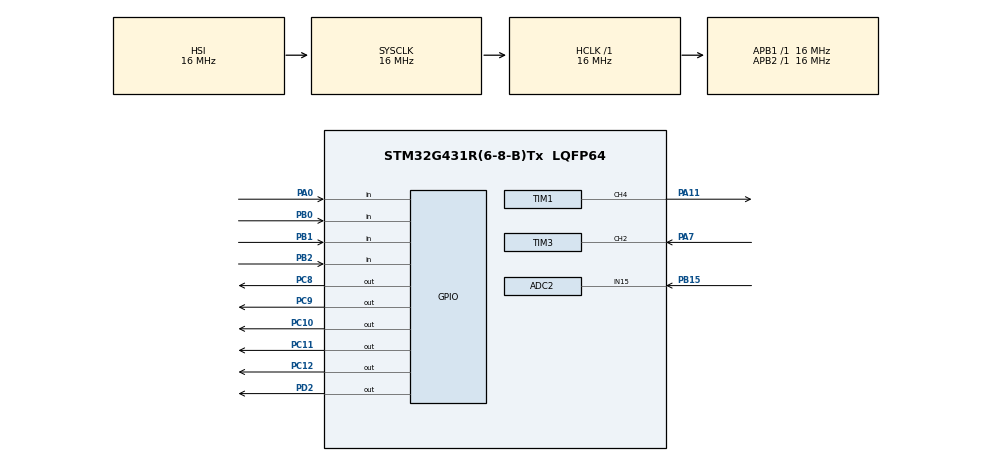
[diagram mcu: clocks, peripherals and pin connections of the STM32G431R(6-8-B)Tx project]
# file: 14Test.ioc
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ADC2.Channel-0\#ChannelRegularConversion=ADC_CHANNEL_15
ADC2.NbrOfConversionFlag=1
ADC2.OffsetNumber-0\#ChannelRegularConversion=ADC_OFFSET_NONE
ADC2.Rank-0\#ChannelRegularConversion=1
ADC2.SamplingTime-0\#ChannelRegularConversion=ADC_SAMPLETIME_2CYCLES_5
Mcu.Family=STM32G4
Mcu.Name=STM32G431R(6-8-B)Tx
Mcu.Package=LQFP64
NVIC.PriorityGroup=NVIC_PRIORITYGROUP_4
NVIC.TIM3_IRQn=true\:0\:0\:false\:false\:true\:true\:true
PA0.Signal=GPIO_Input
PA11.Signal=S_TIM1_CH4
PA13.Mode=Serial_Wire
PA13.Signal=SYS_JTMS-SWDIO
PA14.Mode=Serial_Wire
PA14.Signal=SYS_JTCK-SWCLK
PA7.Signal=S_TIM3_CH2
PB0.Signal=GPIO_Input
PB1.Signal=GPIO_Input
PB15.Mode=IN15-Single-Ended
PB15.Signal=ADC2_IN15
PB2.Signal=GPIO_Input
PC10.Signal=GPIO_Output
PC11.Signal=GPIO_Output
PC12.Signal=GPIO_Output
PC8.Signal=GPIO_Output
PC9.Signal=GPIO_Output
PD2.Signal=GPIO_Output
PF0-OSC_IN.Mode=HSE-External-Oscillator
PF0-OSC_IN.Signal=RCC_OSC_IN
PF1-OSC_OUT.Mode=HSE-External-Oscillator
PF1-OSC_OUT.Signal=RCC_OSC_OUT
ProjectManager.HeapSize=0x200
ProjectManager.StackSize=0x400
ProjectManager.TargetToolchain=MDK-ARM V5
RCC.AHBFreq_Value=16000000
RCC.APB1Freq_Value=16000000
RCC.APB1TimFreq_Value=16000000
RCC.APB2Freq_Value=16000000
RCC.APB2TimFreq_Value=16000000
RCC.CortexFreq_Value=16000000
RCC.EXTERNAL_CLOCK_VALUE=12288000
RCC.HCLKFreq_Value=16000000
RCC.HSE_VALUE=8000000
RCC.HSI48_VALUE=48000000
RCC.HSI_VALUE=16000000
RCC.LSE_VALUE=32768
RCC.SYSCLKFreq_VALUE=16000000
RCC.USBFreq_Value=64000000
RCC.VCOOutputFreq_Value=128000000
SH.S_TIM1_CH4.0=TIM1_CH4,Output Compare4 CH4
SH.S_TIM3_CH2.0=TIM3_CH2,Input_Capture2_from_TI2
TIM1.Channel-Output\ Compare4\ CH4=TIM_CHANNEL_4
TIM1.Prescaler=100-1
TIM1.RepetitionCounter=200-1
TIM3.Channel-Input_Capture2_from_TI2=TIM_CHANNEL_2
TIM3.Prescaler=80-1
VP_SYS_VS_DBSignals.Mode=DisableDeadBatterySignals
VP_TIM1_VS_ClockSourceINT.Mode=Internal
VP_TIM3_VS_ClockSourceINT.Mode=Internal
board=custom

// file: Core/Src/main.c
/* USER CODE BEGIN Header */
/**
  ******************************************************************************
  * @file           : main.c
  * @brief          : Main program body
  ******************************************************************************
  * @attention
  *
  * <h2><center>&copy; Copyright (c) 2023 STMicroelectronics.
  * All rights reserved.</center></h2>
  *
  * This software component is licensed by ST under BSD 3-Clause license,
  * the "License"; You may not use this file except in compliance with the
  * License. You may obtain a copy of the License at:
  *                        opensource.org/licenses/BSD-3-Clause
  *
  ******************************************************************************
  */
/* USER CODE END Header */
#include "main.h"
#include "adc.h"
#include "tim.h"
#include "gpio.h"

/* USER CODE BEGIN Includes */
#include "lcd.h"
#include "i2c_hal.h"
#include "stdio.h"
#include "string.h"

/* USER CODE END Includes */

/* USER CODE BEGIN PD */
#define KEY1 HAL_GPIO_ReadPin(GPIOB,GPIO_PIN_0)
#define KEY2 HAL_GPIO_ReadPin(GPIOB,GPIO_PIN_1)
#define KEY3 HAL_GPIO_ReadPin(GPIOB,GPIO_PIN_2)
#define KEY4 HAL_GPIO_ReadPin(GPIOA,GPIO_PIN_0)
/* USER CODE END PD */

/* USER CODE BEGIN PV */
u8 key_val,key_down,key_up,key_old;
double ao1, ao2;
u8 sta_lcd;
u8 ptr[30];
u32 freqPa1, freqPa2;
uint32_t  cc1_value1 = 0, cc1_value2 = 0;
unsigned char tx[21],rx,rx_buf[21],dex;//串口相关变量
u8 rk_mode;
u8 tc[128];
u8 tcs = 0;
u8 led2_first = 0;
u8 led_in;
u8 e2prom[5];//EEPROM存储数组
u8 PwmSD;
u8 R_sta = 1, K_sta = 1;
u8 PwmMode;
u16 PwmNum;
u8 Pwmzb;
u8 bbbb = 0, ttt = 0;
double GPv = 0.0, DPv = 0.0;

__IO uint32_t LED2_Tick;
/* USER CODE END PV */

void SystemClock_Config(void);

/* USER CODE BEGIN 0 */

u8 key_scan()
{
	if((KEY1 == 0)||(KEY2 == 0)||(KEY3 == 0)||(KEY4 == 0))
	{
		HAL_Delay(10);
		if(KEY1 == 0) return 1;
		else if(KEY2 == 0) return 2;
		else if(KEY3 == 0) return 3;
		else if(KEY4 == 0) return 4;
	}return 0;
}

void led_dis(u8 led)
{
	HAL_GPIO_WritePin(GPIOC,0xff00,GPIO_PIN_SET);
	HAL_GPIO_WritePin(GPIOD,GPIO_PIN_2,GPIO_PIN_SET);
	HAL_GPIO_WritePin(GPIOD,GPIO_PIN_2,GPIO_PIN_RESET);

	HAL_GPIO_WritePin(GPIOC,led<<8,GPIO_PIN_RESET);
	HAL_GPIO_WritePin(GPIOD,GPIO_PIN_2,GPIO_PIN_SET);
	HAL_GPIO_WritePin(GPIOD,GPIO_PIN_2,GPIO_PIN_RESET);
}

void pwm_proc(void)
{
	__IO uint32_t Key22_Tick = LED2_Tick;
	u8 ii = 100;
	u8 i2 = 200;

	if((uwTick - LED2_Tick < 5000) && ttt == 1)
	{
		if(bbbb == 0)
		{
			if(uwTick - Key22_Tick > 100)
			{
				Key22_Tick = uwTick;
				ii += 2;

				__HAL_TIM_SetAutoreload(&htim1, i2-1);
				__HAL_TIM_SetCompare(&htim1, TIM_CHANNEL_4, (Pwmzb / 100 * (i2 - 1)) - 1);

			}
		}else if(bbbb == 1)
		{

			if(uwTick - Key22_Tick > 100)
			{
				Key22_Tick = uwTick;
				i2 -= 2;
				__HAL_TIM_SetAutoreload(&htim1, ii-1);
				__HAL_TIM_SetCompare(&htim1, TIM_CHANNEL_4, (Pwmzb /100 * (ii - 1)) - 1);

			}
		}
	}

	if(uwTick - LED2_Tick > 5000)
	{
		if(PwmMode == 0)
		{
			__HAL_TIM_SetAutoreload(&htim1, 200 - 1);
			__HAL_TIM_SetCompare(&htim1, TIM_CHANNEL_4, (Pwmzb * 2) - 1);

		}else
		{
			__HAL_TIM_SetAutoreload(&htim1, 100 - 1);
			__HAL_TIM_SetCompare(&htim1, TIM_CHANNEL_4, Pwmzb - 1);
		}

		ttt = 0;
	}
}

void key_Proc()
{
	static __IO uint32_t Key_Tick,DKey_Tick;

	if(uwTick - Key_Tick < 50)
		return;

	Key_Tick = uwTick;

	key_val = key_scan();
	key_down = key_val&(key_val^key_old);
	key_up = ~key_val&(key_val^key_old);
	key_old = key_val;

	if(key_down != 0)
	DKey_Tick=uwTick;

	if(uwTick - DKey_Tick > 2000)
	{
		switch(key_up)
		{
			case 4:
				if(sta_lcd == 0)
				{
					if(PwmSD == 0)
						PwmSD = 1; // 锁定
				}
			break;
		}
	}else
	{
		switch (key_up)
		{
			case 1:
			{
				sta_lcd ++;
				if(sta_lcd == 3)
					sta_lcd = 0;

				if(sta_lcd == 1)
					rk_mode = 0;

				LCD_Clear(Black);
				break;
			}
			case 2:
			{
				if(sta_lcd == 0)
				{
					if((uwTick - LED2_Tick > 5000) | (led2_first == 0))
					{
						LED2_Tick = uwTick;
						ttt = 1;
						if(PwmMode == 0)// 1高频 0 低频
						{
							PwmMode = 1;
//							__HAL_TIM_SetAutoreload(&htim2, 100-1);
//							__HAL_TIM_SetCompare(&htim2,TIM_CHANNEL_2, Pwmzb - 1);
							bbbb = 1;

						}else if(PwmMode == 1)
						{
							PwmMode = 0;
							bbbb = 0;
//							__HAL_TIM_SetAutoreload(&htim2, 200-1);
//							__HAL_TIM_SetCompare(&htim2,TIM_CHANNEL_2, (Pwmzb - 1) * 2);
						}
						led2_first = 1;
						PwmNum ++;
					}
				}else if(sta_lcd == 1)
				{
					if(rk_mode == 0)
					{
						rk_mode = 1;
					}
					else if(rk_mode == 1)
					{
						rk_mode = 0;
					}
				}
				break;
			}
			case 3:
			{
				if(sta_lcd == 1)
				{
					if(rk_mode == 0)
					{
						R_sta ++;
						if(R_sta > 10)
							R_sta = 1;
					}
					else if(rk_mode == 1)
					{
						K_sta ++;
						if(K_sta > 10)
							K_sta = 1;
					}
				}
				break;
			}
			case 4:
			{
				if(sta_lcd == 1)
				{
					if(rk_mode == 0)
					{
						R_sta --;
						if(R_sta < 1)
							R_sta = 10;
					}
					else if(rk_mode == 1)
					{
						K_sta --;
						if(K_sta < 1)
							K_sta = 10;
					}
				}else if(sta_lcd == 0)
				{
					if(PwmSD == 1)
						PwmSD = 0;
				}
				break;
			}
		}
	}
}

void lcd_Proc()
{

	double v_sta = (freqPa1 * 3.14 * 2 * R_sta) / 100.0 * K_sta;

	if(PwmMode == 0)
	{
		if(v_sta > DPv)
			DPv = v_sta;
	}else if(PwmMode == 1)
	{
		if(v_sta > GPv)
			GPv = v_sta;
	}

	if(sta_lcd == 0)
	{
		sprintf((char*)ptr,"        DATA");
		LCD_DisplayStringLine(Line1,(u8*)ptr);
		if(PwmMode) // 1 为高频
		{
			sprintf((char*)ptr,"     M=H");
		}else  // 0 为低频
		{
			sprintf((char*)ptr,"     M=L");
		}
		LCD_DisplayStringLine(Line3,(u8*)ptr);
		sprintf((char*)ptr,"     P=%d%%   ", Pwmzb);
		LCD_DisplayStringLine(Line4,(u8*)ptr);
		sprintf((char*)ptr,"     V=%d   ", freqPa1);
		LCD_DisplayStringLine(Line5,(u8*)ptr);
	}else if(sta_lcd == 1){
		sprintf((char*)ptr,"        PARA");
		LCD_DisplayStringLine(Line1,(u8*)ptr);
		sprintf((char*)ptr,"     R=%d  ", R_sta);
		LCD_DisplayStringLine(Line3,(u8*)ptr);
		sprintf((char*)ptr,"     K=%d  ", K_sta);
		LCD_DisplayStringLine(Line4,(u8*)ptr);
	}else if(sta_lcd == 2)
	{
		sprintf((char*)ptr,"        RECD");
		LCD_DisplayStringLine(Line1,(u8*)ptr);
		sprintf((char*)ptr,"     N=%d   ", PwmNum);
		LCD_DisplayStringLine(Line3,(u8*)ptr);
		sprintf((char*)ptr,"     MH=%.1f   ", DPv);
		LCD_DisplayStringLine(Line4,(u8*)ptr);
		sprintf((char*)ptr,"     ML=%.1f   ", GPv);
		LCD_DisplayStringLine(Line5,(u8*)ptr);
	}
}

void led_Proc()
{
//	__HAL_TIM_SetAutoreload(&htim17,(1000/b/plus2)-1);
//	__HAL_TIM_SetCompare(&htim17,TIM_CHANNEL_1,(500/b/plus2));
	static __IO uint32_t LED2_Tick2;

	if(sta_lcd == 0)
		led_in |= 0x01;
	else
		led_in &= ~(0x01);

	// LED2
	if((uwTick - LED2_Tick < 5000) && LED2_Tick != 0)
	{
		if(uwTick - LED2_Tick2 > 100)
		{
			led_in ^= 0x02;
			LED2_Tick2 = uwTick;
		}
	}else
	{
		led_in &= ~(0x02);
	}

	if(PwmSD == 1)
		led_in |= 0x04;
	else
		led_in &= ~(0x04);

	led_dis(led_in);
}

void work_Proc(void) // 获取PB15引脚的电压(对应R37电阻)
{
	uint16_t adc = 0;
	HAL_ADC_Start(&hadc2);
	adc = HAL_ADC_GetValue(&hadc2);
	ao2 = (3.3 * adc)/4096;

	if(PwmSD == 0)
	{
		if(ao2 < 1.0000001)
		{
			Pwmzb = 10;
		}else if(ao2 > 3.000001)
		{
			Pwmzb = 85;
		}else
		{
			Pwmzb = 10 + ((ao2 - 1) / 2.0) * 75;
		}
	}
}

void HAL_TIM_IC_CaptureCallback(TIM_HandleTypeDef *htim)
{
	uint32_t  cc1_value = 0;
	cc1_value = HAL_TIM_ReadCapturedValue(htim, TIM_CHANNEL_2);
	__HAL_TIM_SetCounter(htim, 0);

	if(htim == &htim3)
	{
			freqPa1 = 1000000 / cc1_value;
	}
	HAL_TIM_IC_Start_IT(&htim3, TIM_CHANNEL_2);

}

/* USER CODE END 0 */

int main(void)
{

  /* MCU Configuration--------------------------------------------------------*/

  /* Reset of all peripherals, Initializes the Flash interface and the Systick. */
  HAL_Init();

  /* Configure the system clock */
  SystemClock_Config();

  /* Initialize all configured peripherals */
  MX_GPIO_Init();
  MX_TIM1_Init();
  MX_TIM3_Init();
  MX_ADC2_Init();
  /* USER CODE BEGIN 2 */

	LCD_Init();
	LCD_SetBackColor(Black);
	LCD_SetTextColor(White);
	LCD_Clear(Black);
	led_dis(0);
	HAL_TIM_IC_Start_IT(&htim3, TIM_CHANNEL_2);
	HAL_TIM_PWM_Start(&htim1, TIM_CHANNEL_4);

  /* USER CODE END 2 */

  /* Infinite loop */
  while (1)
  {

    /* USER CODE BEGIN 3 */
		pwm_proc();
		work_Proc();
		key_Proc();
		lcd_Proc();
		led_Proc();
  }
  /* USER CODE END 3 */
}

void SystemClock_Config(void)
{
  RCC_OscInitTypeDef RCC_OscInitStruct = {0};
  RCC_ClkInitTypeDef RCC_ClkInitStruct = {0};
  RCC_PeriphCLKInitTypeDef PeriphClkInit = {0};

  /** Configure the main internal regulator output voltage
  */
  HAL_PWREx_ControlVoltageScaling(PWR_REGULATOR_VOLTAGE_SCALE1);
  /** Initializes the RCC Oscillators according to the specified parameters
  * in the RCC_OscInitTypeDef structure.
  */
  RCC_OscInitStruct.OscillatorType = RCC_OSCILLATORTYPE_HSI;
  RCC_OscInitStruct.HSIState = RCC_HSI_ON;
  RCC_OscInitStruct.HSICalibrationValue = RCC_HSICALIBRATION_DEFAULT;
  RCC_OscInitStruct.PLL.PLLState = RCC_PLL_NONE;
  if (HAL_RCC_OscConfig(&RCC_OscInitStruct) != HAL_OK)
  {
    Error_Handler();
  }
  /** Initializes the CPU, AHB and APB buses clocks
  */
  RCC_ClkInitStruct.ClockType = RCC_CLOCKTYPE_HCLK|RCC_CLOCKTYPE_SYSCLK
                              |RCC_CLOCKTYPE_PCLK1|RCC_CLOCKTYPE_PCLK2;
  RCC_ClkInitStruct.SYSCLKSource = RCC_SYSCLKSOURCE_HSI;
  RCC_ClkInitStruct.AHBCLKDivider = RCC_SYSCLK_DIV1;
  RCC_ClkInitStruct.APB1CLKDivider = RCC_HCLK_DIV1;
  RCC_ClkInitStruct.APB2CLKDivider = RCC_HCLK_DIV1;

  if (HAL_RCC_ClockConfig(&RCC_ClkInitStruct, FLASH_LATENCY_0) != HAL_OK)
  {
    Error_Handler();
  }
  /** Initializes the peripherals clocks
  */
  PeriphClkInit.PeriphClockSelection = RCC_PERIPHCLK_ADC12;
  PeriphClkInit.Adc12ClockSelection = RCC_ADC12CLKSOURCE_SYSCLK;
  if (HAL_RCCEx_PeriphCLKConfig(&PeriphClkInit) != HAL_OK)
  {
    Error_Handler();
  }
}

void Error_Handler(void)
{
  __disable_irq();
  while (1)
  {
  }
}

/************************ (C) COPYRIGHT STMicroelectronics *****END OF FILE****/
